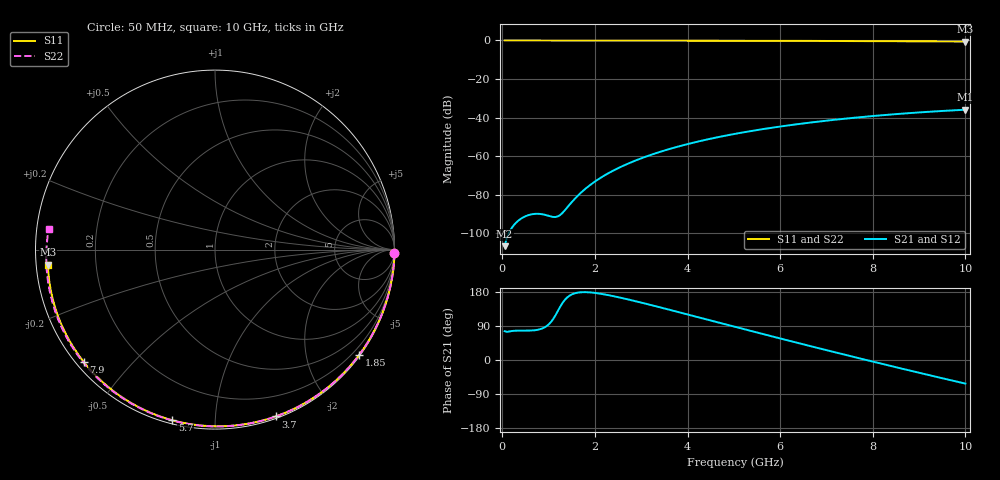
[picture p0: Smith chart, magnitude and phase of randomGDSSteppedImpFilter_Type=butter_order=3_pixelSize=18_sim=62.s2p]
! freq	dB(S11)	phase(S11)	dB(S12)	phase(S12)
!  dB(S21)	phase(S21)	dB(S22)	phase(S22)
!S-par simulation data
#  GHz  S  DB  R 50
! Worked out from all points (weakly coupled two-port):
!   200 points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, 50 MHz to 10 GHz, reference 50 ohm
!   highest |S21| = -35.95 dB at 10 GHz (marker M1); lowest = -106.8 dB at 50 MHz (marker M2)
!   lowest |S11| = -0.6 dB at 10 GHz (marker M3), VSWR 29.76, Z = 1.68 - j2.26 ohm
!   |S11| at or under -10 dB: nowhere
!   |S22| runs from -0.6 to 0.0 dB; largest |S21 - S12| = 0
!   S11 on the Smith chart (normalised r, x): 50 MHz: open; 1.85 GHz: 0.03, -3.07; 3.7 GHz: 0.02, -1.43; 5.7 GHz: 0.02, -0.78; 7.9 GHz: 0.02, -0.37; 10 GHz: 0.03, -0.05
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0.05  -0.00 -1.0  -106.76 75.9  -106.76 75.9  -0.00 -1.1
0.4  -0.01 -7.9  -92.55 77.5  -92.55 77.5  -0.01 -8.6
0.8  -0.02 -15.8  -90.00 80.7  -90.00 80.7  -0.02 -17.1
1.2  -0.03 -23.6  -91.32 129.4  -91.32 129.4  -0.03 -25.5
1.65  -0.04 -32.2  -80.10 178.2  -80.10 178.2  -0.04 -34.9
1.75  -0.04 -34.1  -77.89 179.1  -77.89 179.1  -0.05 -36.9
1.85  -0.05 -36.0  -75.89 178.8  -75.89 178.8  -0.05 -39.0
2.15  -0.05 -41.7  -70.88 174.3  -70.88 174.3  -0.06 -45.1
2.5  -0.06 -48.3  -66.29 165.8  -66.29 165.8  -0.07 -52.1
2.9  -0.07 -55.6  -62.09 154.5  -62.09 154.5  -0.08 -60.0
3.4  -0.09 -64.7  -57.86 139.2  -57.86 139.2  -0.09 -69.7
3.7  -0.09 -70.0  -55.71 129.7  -55.71 129.7  -0.10 -75.4
4.35  -0.12 -81.4  -51.78 109.1  -51.78 109.1  -0.12 -87.5
5.05  -0.14 -93.2  -48.36 86.8  -48.36 86.8  -0.15 -100.1
5.7  -0.18 -104.0  -45.74 66.2  -45.74 66.2  -0.19 -111.5
6.2  -0.20 -112.2  -44.00 50.6  -44.00 50.6  -0.22 -120.1
6.7  -0.24 -120.2  -42.47 35.2  -42.47 35.2  -0.25 -128.7
7.3  -0.28 -129.9  -40.85 16.8  -40.85 16.8  -0.30 -138.9
7.9  -0.33 -139.5  -39.44 -1.2  -39.44 -1.2  -0.35 -149.2
8.35  -0.38 -146.8  -38.51 -14.6  -38.51 -14.6  -0.40 -157.0
9.2  -0.48 -160.9  -37.03 -39.5  -37.03 -39.5  -0.49 -172.1
10  -0.58 -174.8  -35.95 -62.3  -35.95 -62.3  -0.60 172.8
